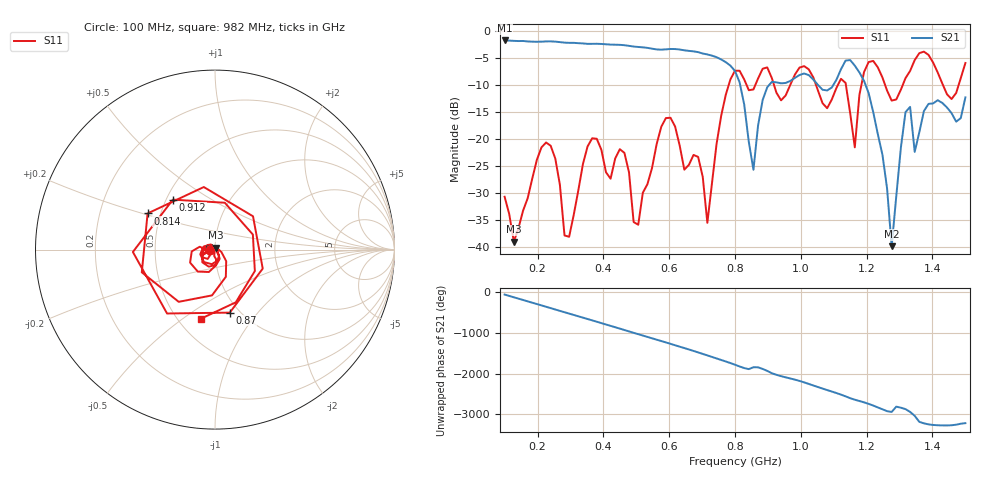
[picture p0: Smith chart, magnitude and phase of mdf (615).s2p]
! NanoVNA-App
! Date: 2025-09-25 15:43:12
! Start: 100MHz Stop: 1,5GHz Points: 101
! S-Parameter data: F S11 S21 S12 S22
# Hz S RI R 50
!  Frequency  S11_Real  S11_Imag  S21_Real  S21_Imag  S12_Real  S12_Imag  S22_Real  S22_Imag
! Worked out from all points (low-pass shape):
!   101 points, 100 MHz to 1.5 GHz, reference 50 ohm
!   highest |S21| = -1.80 dB at 100 MHz (marker M1); lowest = -39.9 dB at 1.276 GHz (marker M2)
!   |S21| within 3 dB of the highest: start of sweep to 739.3 MHz
!   lowest |S11| = -39.0 dB at 128 MHz (marker M3), VSWR 1.02, Z = 50.3 + j1.08 ohm
!   |S11| at or under -10 dB: start of sweep to 781.1 MHz; 918.3 MHz to 968.1 MHz (49.75 MHz wide, 5.27 % of centre); 1.046 GHz to 1.113 GHz (67.09 MHz wide, 6.22 % of centre) (the widest 3 of 7)
!   S12 and S22 are empty: the file has one direction only
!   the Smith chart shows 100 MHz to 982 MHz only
!   S11 on the Smith chart (normalised r, x): 100 MHz: 0.94, -0.01; 814 MHz: 0.42, +0.21; 870 MHz: 0.90, -0.73; 912 MHz: 0.54, +0.35; 982 MHz: 0.64, -0.59
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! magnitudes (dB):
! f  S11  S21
! 100 MHz  -30.7  -1.8
! 128 MHz  -39.0  -1.9
! 212 MHz  -21.6  -2.0
! 282 MHz  -37.9  -2.2
! 338 MHz  -24.7  -2.3
! 464 MHz  -22.6  -2.7
! 506 MHz  -35.9  -3.0
! 576 MHz  -17.8  -3.5
! 716 MHz  -35.5  -4.4
! 800 MHz  -7.4  -7.4
! 814 MHz  -7.4  -9.6
! 856 MHz  -10.9  -25.7
! 870 MHz  -8.9  -17.6
! 912 MHz  -8.8  -9.5
! 982 MHz  -8.1  -8.7
! 1.038 GHz  -8.6  -9.0
! 1.136 GHz  -9.7  -5.5
! 1.164 GHz  -21.6  -6.5
! 1.192 GHz  -7.7  -9.3
! 1.276 GHz  -12.9  -39.9
! 1.318 GHz  -8.8  -15.1
! 1.5 GHz  -6.0  -12.3
